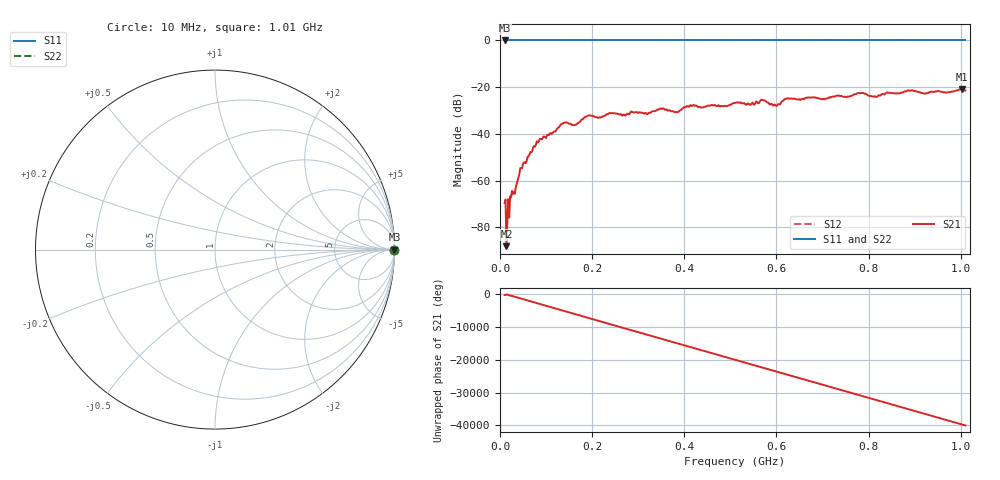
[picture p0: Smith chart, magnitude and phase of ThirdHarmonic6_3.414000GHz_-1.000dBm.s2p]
! 8/17/2025 10:56:21 AM
! C:\ANRITSUVNA\TEMP\TEMP.S2P
! CHANNEL.1
! TR.MEASUREMENT
! RAW.DATA
! RF.CORRECTION.OFF
! AVERAGING.OFF
! IF.BANDWIDTH: 5KHZ
! SWEEPTYPE:  FREQ.SWEEP(Linear)
! Reference Plane Port Info
! PORT:  PORT1  PORT2
! DISTANCE:  0  m  0  m
! TIME:  0  s  0  s
! PHASE.OFFSET:  0  deg.  0  deg.
! LOSS:  0  dB  0  dB
! REF.LOSS:  0  dB  0  dB
! REF.FREQ:  0  Hz  0  Hz
! Power Info
! POWER:  -20  dBm  -20  dBm
! EFF.POWER:  -20  dBm  -20  dBm
! SOURCE.ATTEN:  0  dB  0  dB
! TEST.ATTEN:  0  dB  0  dB
# GHZ S RI R 50.0
! FREQ.GHZ  S11RE  S11IM  S21RE  S21IM  S12RE  S12IM  S22RE  S22IM
!; PortSelection: Port_12
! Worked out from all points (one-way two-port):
!   501 points, 10 MHz to 1.01 GHz, reference 50 ohm
!   highest |S21| = -20.83 dB at 1.002 GHz (marker M1); lowest = -88.1 dB at 14 MHz (marker M2)
!   lowest |S11| = 0.0 dB at 10 MHz (marker M3)
!   |S11| at or under -10 dB: nowhere
!   |S22| runs from 0.0 to 0.0 dB; largest |S21 - S12| = 1.1
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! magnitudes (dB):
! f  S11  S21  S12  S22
! 10 MHz  0.0  -69.6  0.0  0.0
! 14 MHz  0.0  -88.1  0.0  0.0
! 18 MHz  0.0  -68.0  0.0  0.0
! 22 MHz  0.0  -66.8  0.0  0.0
! 34 MHz  0.0  -63.2  0.0  0.0
! 48 MHz  0.0  -54.6  0.0  0.0
! 84 MHz  0.0  -43.4  0.0  0.0
! 136 MHz  0.0  -35.7  0.0  0.0
! 162 MHz  0.0  -36.3  0.0  0.0
! 178 MHz  0.0  -33.8  0.0  0.0
! 192 MHz  0.0  -32.2  0.0  0.0
! 344 MHz  0.0  -29.6  0.0  0.0
! 384 MHz  0.0  -30.7  0.0  0.0
! 416 MHz  0.0  -28.1  0.0  0.0
! 510 MHz  0.0  -26.7  0.0  0.0
! 570 MHz  0.0  -25.5  0.0  0.0
! 598 MHz  0.0  -27.9  0.0  0.0
! 622 MHz  0.0  -24.8  0.0  0.0
! 678 MHz  0.0  -24.4  0.0  0.0
! 844 MHz  0.0  -22.4  0.0  0.0
! 1.002 GHz  0.0  -20.8  0.0  0.0
! 1.01 GHz  0.0  -21.4  0.0  0.0
